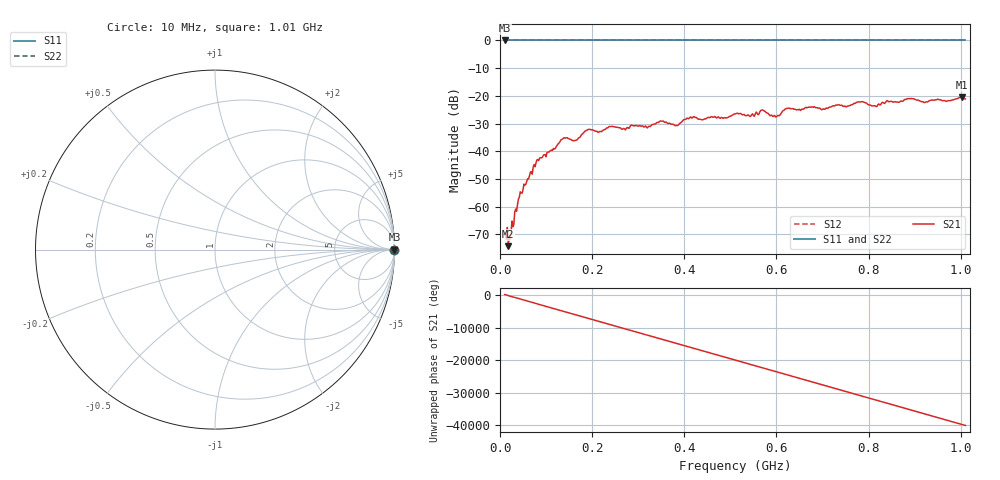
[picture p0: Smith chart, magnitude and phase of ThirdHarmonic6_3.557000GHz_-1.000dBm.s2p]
! 8/17/2025 11:45:22 AM
! C:\ANRITSUVNA\TEMP\TEMP.S2P
! CHANNEL.1
! TR.MEASUREMENT
! RAW.DATA
! RF.CORRECTION.OFF
! AVERAGING.OFF
! IF.BANDWIDTH: 5KHZ
! SWEEPTYPE:  FREQ.SWEEP(Linear)
! Reference Plane Port Info
! PORT:  PORT1  PORT2
! DISTANCE:  0  m  0  m
! TIME:  0  s  0  s
! PHASE.OFFSET:  0  deg.  0  deg.
! LOSS:  0  dB  0  dB
! REF.LOSS:  0  dB  0  dB
! REF.FREQ:  0  Hz  0  Hz
! Power Info
! POWER:  -20  dBm  -20  dBm
! EFF.POWER:  -20  dBm  -20  dBm
! SOURCE.ATTEN:  0  dB  0  dB
! TEST.ATTEN:  0  dB  0  dB
# GHZ S RI R 50.0
! FREQ.GHZ  S11RE  S11IM  S21RE  S21IM  S12RE  S12IM  S22RE  S22IM
!; PortSelection: Port_12
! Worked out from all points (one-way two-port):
!   501 points, 10 MHz to 1.01 GHz, reference 50 ohm
!   highest |S21| = -20.41 dB at 1.002 GHz (marker M1); lowest = -74.3 dB at 18 MHz (marker M2)
!   lowest |S11| = 0.0 dB at 10 MHz (marker M3)
!   |S11| at or under -10 dB: nowhere
!   |S22| runs from 0.0 to 0.0 dB; largest |S21 - S12| = 1.1
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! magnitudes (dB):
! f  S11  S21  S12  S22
! 10 MHz  0.0  -70.1  0.0  0.0
! 18 MHz  0.0  -74.3  0.0  0.0
! 26 MHz  0.0  -65.2  0.0  0.0
! 42 MHz  0.0  -56.6  0.0  0.0
! 78 MHz  0.0  -44.3  0.0  0.0
! 136 MHz  0.0  -35.6  0.0  0.0
! 164 MHz  0.0  -36.1  0.0  0.0
! 178 MHz  0.0  -33.8  0.0  0.0
! 192 MHz  0.0  -32.1  0.0  0.0
! 322 MHz  0.0  -31.1  0.0  0.0
! 344 MHz  0.0  -29.6  0.0  0.0
! 382 MHz  0.0  -30.7  0.0  0.0
! 416 MHz  0.0  -28.0  0.0  0.0
! 510 MHz  0.0  -26.6  0.0  0.0
! 570 MHz  0.0  -25.1  0.0  0.0
! 602 MHz  0.0  -27.2  0.0  0.0
! 624 MHz  0.0  -24.5  0.0  0.0
! 678 MHz  0.0  -24.0  0.0  0.0
! 814 MHz  0.0  -23.6  0.0  0.0
! 844 MHz  0.0  -22.1  0.0  0.0
! 1.002 GHz  0.0  -20.4  0.0  0.0
! 1.01 GHz  0.0  -21.1  0.0  0.0
